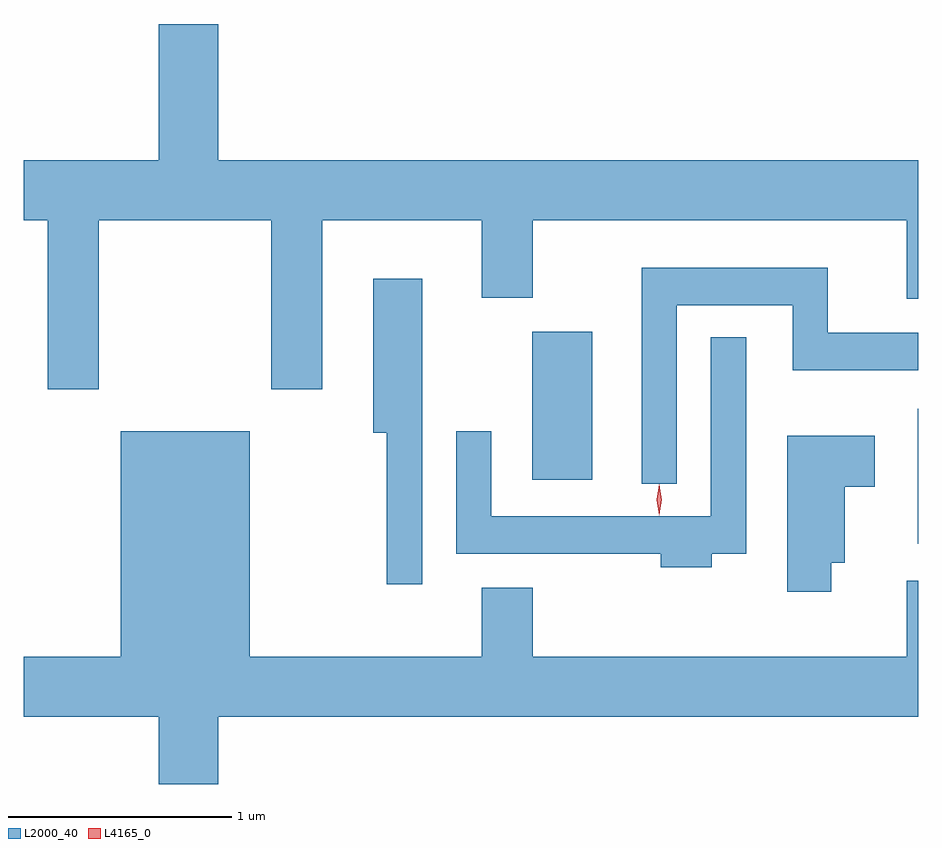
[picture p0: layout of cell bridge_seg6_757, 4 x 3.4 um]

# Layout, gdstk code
import gdstk
lib = gdstk.Library(unit=1e-6, precision=1e-09)
def R(c, l, rs):  # rectangles x0, y0, x1, y1
    for r in rs: c.add(gdstk.rectangle(r[:2], r[2:], *l))
def P(c, l, *ps):  # polygons
    for p in ps: c.add(gdstk.Polygon(p, *l))
L2000_40 = (2000, 40)
L4165_0 = (4165, 0)

bridge_seg6_757 = lib.new_cell('bridge_seg6_757')
R(bridge_seg6_757, L2000_40, [(438.251,1566.351,438.253,1566.954), (436.526,1566.636,436.794,1567.299)])
P(bridge_seg6_757, L2000_40, [(434.589,1567.796),(435.361,1567.796),(435.361,1567.041),(435.589,1567.041),(435.589,1567.796),(436.301,1567.796),(436.301,1567.451),(436.529,1567.451),(436.529,1567.796),(438.201,1567.796),(438.201,1567.446),(438.253,1567.446),(438.253,1568.064),(435.124,1568.064),(435.124,1568.674),(434.856,1568.674),(434.856,1568.064),(434.253,1568.064),(434.253,1567.796),(434.361,1567.796),(434.361,1567.041),(434.589,1567.041)],
  [(437.174,1567.416),(437.691,1567.416),(437.691,1567.126),(438.253,1567.126),(438.253,1567.294),(437.849,1567.294),(437.849,1567.584),(437.016,1567.584),(437.016,1566.618),(437.174,1566.618)],
  [(436.034,1567.534),(435.816,1567.534),(435.816,1566.846),(435.876,1566.846),(435.876,1566.168),(436.034,1566.168)],
  [(437.329,1566.306),(437.484,1566.306),(437.484,1567.273),(437.326,1567.273),(437.326,1566.474),(436.344,1566.474),(436.344,1566.853),(436.186,1566.853),(436.186,1566.306),(437.101,1566.306),(437.101,1566.246),(437.329,1566.246)],
  [(435.124,1565.576),(438.253,1565.576),(438.253,1566.184),(438.201,1566.184),(438.201,1565.844),(436.529,1565.844),(436.529,1566.154),(436.301,1566.154),(436.301,1565.844),(435.264,1565.844),(435.264,1566.854),(434.686,1566.854),(434.686,1565.844),(434.253,1565.844),(434.253,1565.576),(434.856,1565.576),(434.856,1565.276),(435.124,1565.276)],
  [(437.864,1566.266),(437.924,1566.266),(437.924,1566.606),(438.059,1566.606),(438.059,1566.834),(437.666,1566.834),(437.666,1566.136),(437.864,1566.136)])
P(bridge_seg6_757, L4165_0, [(437.095,1566.479),(437.094,1566.48),(437.085,1566.546),(437.094,1566.612),(437.095,1566.613),(437.095,1566.612),(437.105,1566.546),(437.095,1566.48)],
  [(437.094,1566.477),(437.094,1566.477),(437.084,1566.546),(437.094,1566.616),(437.094,1566.616),(437.095,1566.616),(437.104,1566.546),(437.095,1566.477)])

lib.write_gds('bridge_seg6_757.gds')
